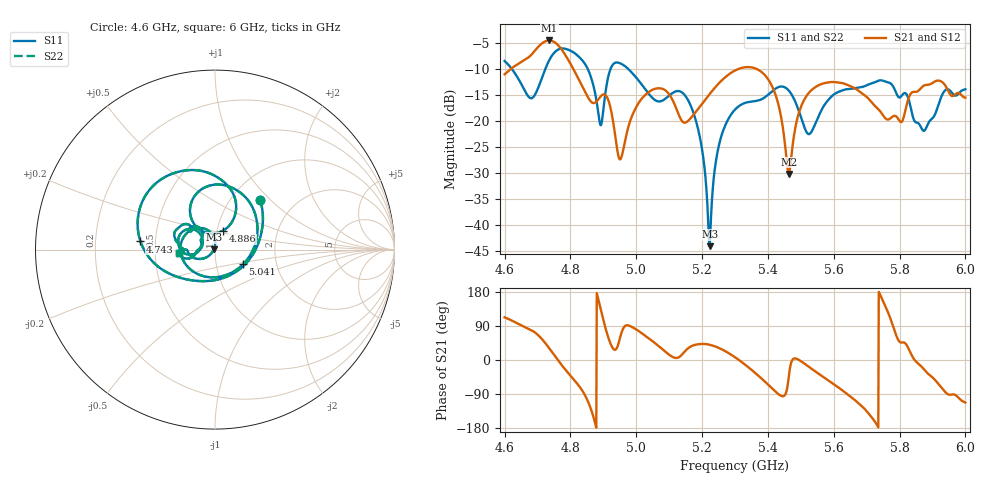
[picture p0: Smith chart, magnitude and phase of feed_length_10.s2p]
! TOUCHSTONE file generated by CST MICROWAVE STUDIO
! Date and time: Mon Dec  2 05:46:50 2024
! Project name: test_tuning.cst
! Parameters = {airCoaxOuterDiameter=3; chamferAngle=45; chamferWidth=24; connectorLength=10; drillingHoleDiameter=4.1; feedLength=120; flareDiameter=130; flareLength=70; gratingDistance=0; gratingGap=1.90274; outletLength=30; polarizerLength=134; probe1Diameter=1.3; probe1Distance=14; probe1Length=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
! Header version: 2024
! Port assignment regex: !\s*Touchstone port\s*([0-9]+)\s*=\s*(CST MWS port|CST DES external port|CST DES block port)\s*(.+)\s* \(\"(.*)\"\)(\s*mode\s*([0-9]+))?.*
! Touchstone port assignment:
! Touchstone port 1 = CST MWS port 1 ("Input1")
! Touchstone port 2 = CST MWS port 2 ("Input2")
# GHz S MA R 50
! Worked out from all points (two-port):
!   1001 points, 4.6 GHz to 6 GHz, reference 50 ohm
!   highest |S21| = -4.57 dB at 4.736 GHz (marker M1); lowest = -30.2 dB at 5.464 GHz (marker M2)
!   |S21| within 3 dB of the highest: 4.677 GHz to 4.786 GHz (109.3 MHz wide, 2.31 % of centre)
!   lowest |S11| = -44.1 dB at 5.223 GHz (marker M3), VSWR 1.01, Z = 49.4 + j0.13 ohm
!   |S11| at or under -10 dB: 4.621 GHz to 4.724 GHz (102.7 MHz wide, 2.2 % of centre); 4.852 GHz to 4.922 GHz (69.92 MHz wide, 1.43 % of centre); 4.975 GHz to end of sweep
!   |S22| runs from -44.1 to -6.1 dB; largest |S21 - S12| = 5.9e-07
!   S11 on the Smith chart (normalised r, x): 4.6 GHz: 1.35, +0.87; 4.743 GHz: 0.41, +0.05; 4.886 GHz: 1.07, +0.23; 5.041 GHz: 1.35, -0.23; 6 GHz: 0.67, -0.03
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4.6  0.375 47.9  0.2795 112.5  0.2795 112.5  0.375 47.9
4.6812  0.1645 -70.4  0.4305 78.6  0.4305 78.6  0.1645 -70.4
4.7358  0.3828 -176.6  0.5907 30.7  0.5907 30.7  0.3828 -176.6
4.7428  0.4177 173.7  0.586 22.5  0.586 22.5  0.4177 173.7
4.8338  0.3876 84.3  0.2203 -77.8  0.2203 -77.8  0.3876 84.3
4.8856  0.1133 67.6  0.162 156.4  0.162 156.4  0.1133 67.6
4.915  0.2659 121.6  0.1579 59.3  0.1579 59.3  0.2659 121.6
4.9514  0.3561 73.1  0.04261 60.9  0.04261 60.9  0.3561 73.1
5.041  0.1767 -27.6  0.1917 55.4  0.1917 55.4  0.1767 -27.6
5.0676  0.1533 -75.8  0.2052 37.1  0.2052 37.1  0.1533 -75.8
5.1656  0.1392 120.7  0.1061 35.6  0.1061 35.6  0.1392 120.7
5.1992  0.05488 91.4  0.144 42.4  0.144 42.4  0.05488 91.4
5.223  0.006245 167.9  0.1807 40.1  0.1807 40.1  0.006246 167.9
5.251  0.05783 -136.6  0.2292 31.8  0.2292 31.8  0.05783 -136.6
5.3  0.1281 -159.4  0.3037 7.2  0.3037 7.2  0.1281 -159.4
5.4064  0.1846 177.3  0.234 -69.9  0.234 -69.9  0.1846 177.3
5.4638  0.1944 144.9  0.03088 -41.3  0.03088 -41.3  0.1944 144.9
5.5338  0.07983 176.8  0.1986 -24.0  0.1986 -24.0  0.07983 176.8
5.643  0.2015 174.6  0.2199 -91.2  0.2199 -91.2  0.2015 174.6
5.7676  0.2326 145.7  0.1033 120.0  0.1033 120.0  0.2326 145.7
5.8726  0.08009 162.5  0.2165 -23.3  0.2165 -23.3  0.08009 162.5
6  0.2007 -174.2  0.167 -112.3  0.167 -112.3  0.2007 -174.2
